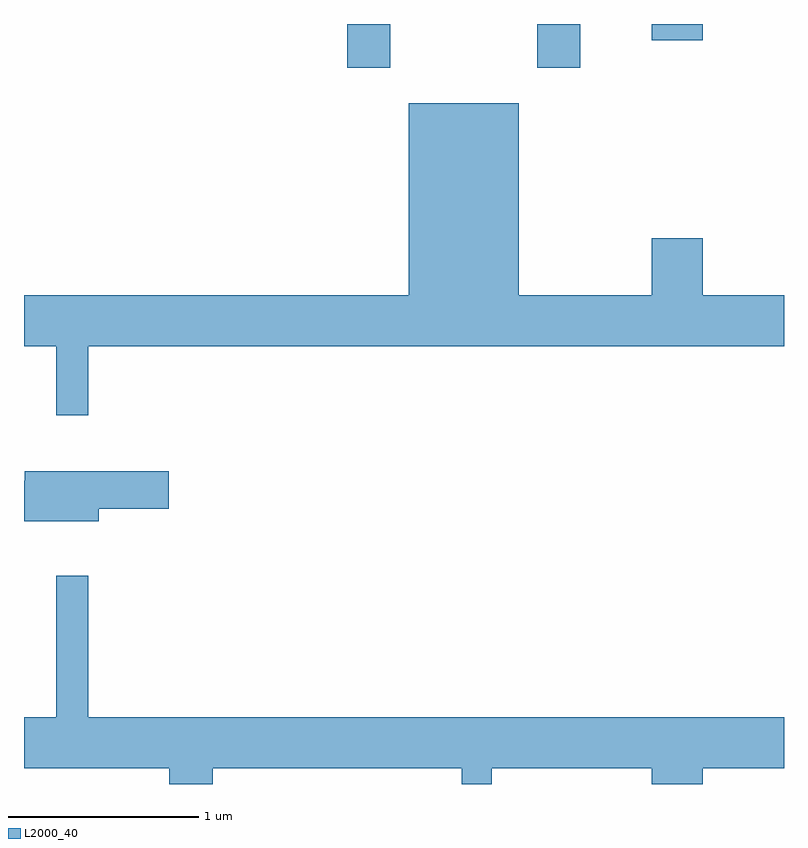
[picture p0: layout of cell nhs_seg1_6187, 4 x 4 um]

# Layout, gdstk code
import gdstk
lib = gdstk.Library(unit=1e-6, precision=1e-09)
def R(c, l, rs):  # rectangles x0, y0, x1, y1
    for r in rs: c.add(gdstk.rectangle(r[:2], r[2:], *l))
def P(c, l, *ps):  # polygons
    for p in ps: c.add(gdstk.Polygon(p, *l))
L2000_40 = (2000, 40)

nhs_seg1_6187 = lib.new_cell('nhs_seg1_6187')
R(nhs_seg1_6187, L2000_40, [(373.311,905.481,373.539,905.712), (374.311,905.481,374.539,905.712), (374.916,905.626,375.184,905.712)])
P(nhs_seg1_6187, L2000_40, [(371.949,904.016),(375.611,904.016),(375.611,904.284),(375.184,904.284),(375.184,904.584),(374.916,904.584),(374.916,904.284),(374.214,904.284),(374.214,905.294),(373.636,905.294),(373.636,904.284),(371.611,904.284),(371.611,904.016),(371.781,904.016),(371.781,903.653),(371.949,903.653)],
  [(372.004,903.161),(372.374,903.161),(372.374,903.359),(371.616,903.359),(371.616,903.309),(371.611,903.309),(371.611,903.096),(372.004,903.096)],
  [(372.604,901.796),(373.916,901.796),(373.916,901.712),(374.074,901.712),(374.074,901.796),(374.916,901.796),(374.916,901.712),(375.184,901.712),(375.184,901.796),(375.611,901.796),(375.611,902.064),(371.949,902.064),(371.949,902.808),(371.781,902.808),(371.781,902.064),(371.611,902.064),(371.611,901.796),(372.376,901.796),(372.376,901.712),(372.604,901.712)])

lib.write_gds('nhs_seg1_6187.gds')
